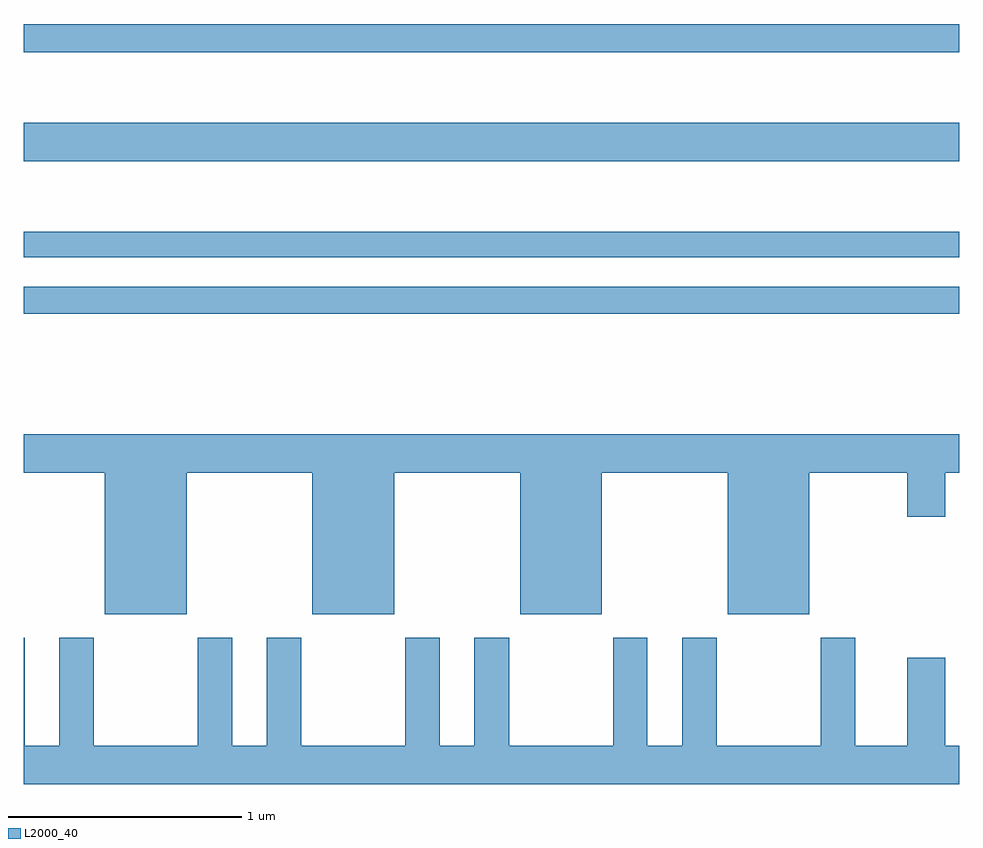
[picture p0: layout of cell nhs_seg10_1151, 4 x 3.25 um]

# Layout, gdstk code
import gdstk
lib = gdstk.Library(unit=1e-6, precision=1e-09)
def R(c, l, rs):  # rectangles x0, y0, x1, y1
    for r in rs: c.add(gdstk.rectangle(r[:2], r[2:], *l))
def P(c, l, *ps):  # polygons
    for p in ps: c.add(gdstk.Polygon(p, *l))
L2000_40 = (2000, 40)

nhs_seg10_1151 = lib.new_cell('nhs_seg10_1151')
R(nhs_seg10_1151, L2000_40, [(169,1328.968,173,1329.084), (169,1329.21,173,1329.319), (169,1329.62,173,1329.784), (169,1330.086,173,1330.207)])
P(nhs_seg10_1151, L2000_40, [(169.696,1328.288),(170.234,1328.288),(170.234,1327.682),(170.584,1327.682),(170.584,1328.288),(171.122,1328.288),(171.122,1327.682),(171.472,1327.682),(171.472,1328.288),(172.01,1328.288),(172.01,1327.682),(172.36,1327.682),(172.36,1328.288),(172.778,1328.288),(172.778,1328.1),(172.942,1328.1),(172.942,1328.288),(173,1328.288),(173,1328.452),(169,1328.452),(169,1328.288),(169.346,1328.288),(169.346,1327.682),(169.696,1327.682)],
  [(173,1327.12),(172.942,1327.12),(172.942,1327.495),(172.778,1327.495),(172.778,1327.12),(172.555,1327.12),(172.555,1327.582),(172.408,1327.582),(172.408,1327.12),(171.963,1327.12),(171.963,1327.582),(171.815,1327.582),(171.815,1327.12),(171.667,1327.12),(171.667,1327.582),(171.52,1327.582),(171.52,1327.12),(171.075,1327.12),(171.075,1327.582),(170.927,1327.582),(170.927,1327.12),(170.779,1327.12),(170.779,1327.582),(170.632,1327.582),(170.632,1327.12),(170.187,1327.12),(170.187,1327.582),(170.039,1327.582),(170.039,1327.12),(169.891,1327.12),(169.891,1327.582),(169.744,1327.582),(169.744,1327.12),(169.299,1327.12),(169.299,1327.582),(169.151,1327.582),(169.151,1327.12),(169.003,1327.12),(169.003,1327.582),(169,1327.582),(169,1326.956),(173,1326.956)])

lib.write_gds('nhs_seg10_1151.gds')
